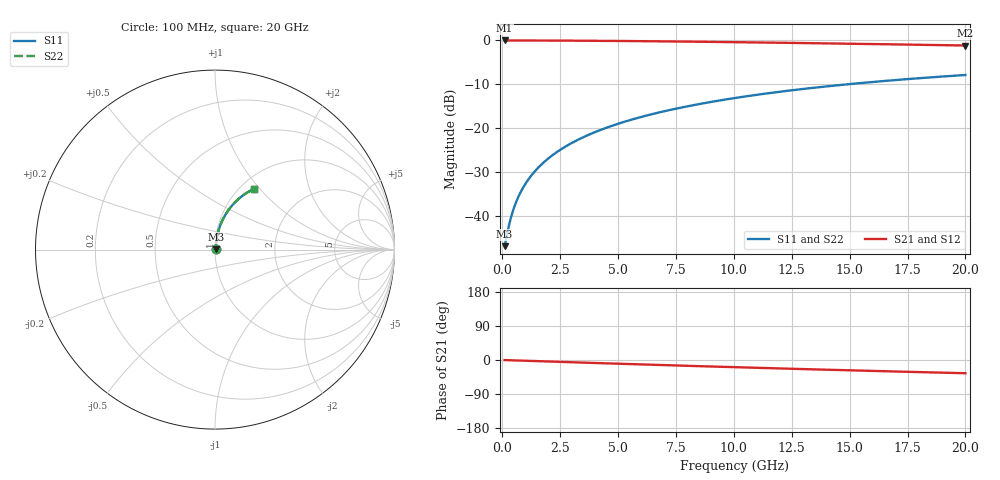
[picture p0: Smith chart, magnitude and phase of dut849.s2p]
! Touchstone file exported from HFSS 2024.1.0
!  File:  C:/UserFiles/LocalFiles/RDL_TSV_Batchsim/temp_RDL_bottom_849_1779864065.aedt
!  Generated:  02:44:01 PM May 27, 2026
!  Design:  RDL_bottom
!  Project:  temp_RDL_bottom_849_1779864065
!  Setup:  Setup1
!  Solution:  Sweep
! Variables:
!  dtsv = 10.80580581um
!  hbump = 3um
!  htsv = 99.96um
!  ldown = 454.81um
!  lrdl = 100um
!  p = 40
!  p1 = 41.5um
!  rhole = 1um
!  t = 450um
!  tdown = 3.75um
!  trdl = 3.915915916um
!  wdown = 11.22um
!  wrdl = 20um
# GHz S MA R 50.000000
! Terminal data exported
! Port[1] = RDL1_T1
! Port[2] = RDL1_T2
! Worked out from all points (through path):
!   200 points, 100 MHz to 20 GHz, reference 50 ohm
!   highest |S21| = -0.03 dB at 100 MHz (marker M1); lowest = -1.2 dB at 20 GHz (marker M2)
!   group delay of S21, straight-line fit = 4.85 ps
!   lowest |S11| = -46.8 dB at 100 MHz (marker M3), VSWR 1.01, Z = 50.4 + j0.236 ohm
!   |S11| at or under -10 dB: start of sweep to 14.92 GHz
!   |S22| runs from -46.8 to -7.9 dB; largest |S21 - S12| = 3.6e-15
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0.1  0.004551 31.0  0.9961 -0.2  0.9961 -0.2  0.004551 31.0
! Gamma 0 0 0 0
! Port Impedance 50 0 50 0
0.3  0.008082 60.0  0.996 -0.6  0.996 -0.6  0.008081 60.0
0.4  0.01018 65.9  0.9959 -0.8  0.9959 -0.8  0.01018 65.9
0.5  0.01233 69.7  0.9957 -1.0  0.9957 -1.0  0.01233 69.7
0.6  0.01452 72.3  0.9956 -1.2  0.9956 -1.2  0.01451 72.3
0.8  0.01891 75.6  0.9954 -1.6  0.9954 -1.6  0.01891 75.6
1.1  0.02555 78.3  0.995 -2.2  0.995 -2.2  0.02554 78.3
1.3  0.02999 79.4  0.9947 -2.6  0.9947 -2.6  0.02998 79.4
1.5  0.03444 80.1  0.9944 -3.0  0.9944 -3.0  0.03443 80.1
1.8  0.04112 80.7  0.9939 -3.6  0.9939 -3.6  0.04112 80.7
2.1  0.04782 81.1  0.9932 -4.2  0.9932 -4.2  0.04782 81.1
2.7  0.06122 81.2  0.9917 -5.4  0.9917 -5.4  0.06122 81.3
3.5  0.07907 80.9  0.9892 -6.9  0.9892 -6.9  0.07907 80.9
4.2  0.09464 80.2  0.9866 -8.3  0.9866 -8.3  0.09464 80.2
5  0.1123 79.3  0.9831 -9.8  0.9831 -9.8  0.1124 79.3
5.9  0.1321 78.2  0.9787 -11.5  0.9787 -11.5  0.1321 78.2
6.8  0.1517 76.9  0.9737 -13.2  0.9737 -13.2  0.1518 76.9
8.3  0.184 74.7  0.9646 -15.9  0.9646 -15.9  0.184 74.7
10.1  0.2217 72.0  0.9524 -19.1  0.9524 -19.1  0.2217 72.0
13.4  0.2875 67.0  0.9275 -24.7  0.9275 -24.7  0.2876 67.0
16.7  0.3482 62.0  0.9006 -29.9  0.9006 -29.9  0.3483 62.0
20  0.4031 57.2  0.8727 -34.9  0.8727 -34.9  0.4032 57.2
